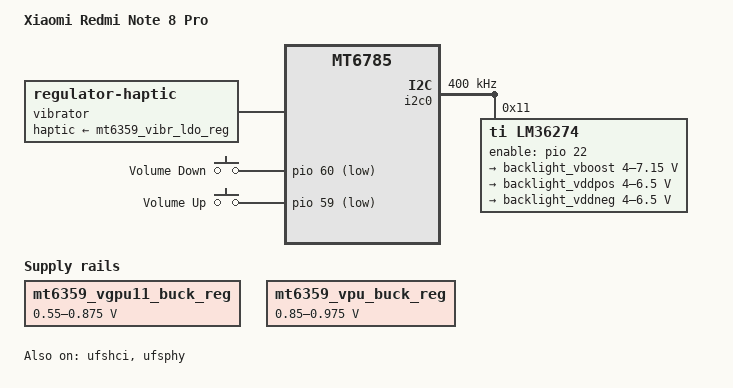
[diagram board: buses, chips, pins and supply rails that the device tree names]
// SPDX-License-Identifier: (GPL-2.0 OR MIT)
/*
 * Copyright (c) 2025 Dinolek <git@dinolek.me>
 */

/dts-v1/;
#include <dt-bindings/gpio/gpio.h>
#include <dt-bindings/input/input.h>

#include "mt6785.dtsi"
#include "mt6359.dtsi"

/ {
	model = "Xiaomi Redmi Note 8 Pro";
	compatible = "xiaomi,begonia", "mediatek,mt6785";
	chassis-type = "handset";

	vibrator {
		compatible = "regulator-haptic";
		haptic-supply = <&mt6359_vibr_ldo_reg>;
		max-microvolt = <2800000>;
		min-microvolt = <1200000>;
	};

	volume_buttons: volume-buttons {
		compatible = "gpio-keys";
		pinctrl-names = "default";
		pinctrl-0 = <&volume_button_pins>;

		button-volume-down {
			label = "Volume Down";
			linux,code = <KEY_VOLUMEDOWN>;
			debounce-interval = <100>;

			gpios = <&pio 60 GPIO_ACTIVE_LOW>;
		};

		button-volume-up {
			label = "Volume Up";
			linux,code = <KEY_VOLUMEUP>;
			debounce-interval = <100>;

			gpios = <&pio 59 GPIO_ACTIVE_LOW>;
		};
	};
};

&cci {
	proc-supply = <&mt6359_vproc2_buck_reg>;
};

&cpu0 {
	proc-supply = <&mt6359_vproc2_buck_reg>;
};

&cpu1 {
	proc-supply = <&mt6359_vproc2_buck_reg>;
};

&cpu2 {
	proc-supply = <&mt6359_vproc2_buck_reg>;
};

&cpu3 {
	proc-supply = <&mt6359_vproc2_buck_reg>;
};

&cpu4 {
	proc-supply = <&mt6359_vproc2_buck_reg>;
};

&cpu5 {
	proc-supply = <&mt6359_vproc2_buck_reg>;
};

&cpu6 {
	proc-supply = <&mt6359_vproc1_buck_reg>;
};

&cpu7 {
	proc-supply = <&mt6359_vproc1_buck_reg>;
};

&i2c0 {
	clock-frequency = <400000>;

	pinctrl-names = "default";
	pinctrl-0 = <&i2c0_pins>;

	status = "okay";

	lm36274@11 {
		compatible = "ti,lm36274";
		reg = <0x11>;

		enable-gpios = <&pio 22 GPIO_ACTIVE_HIGH>;

		pinctrl-names = "default";
		pinctrl-0 = <&backlight_pins>;

		regulators {
			compatible = "ti,lm36274-regulator";

			vboost {
				regulator-name = "backlight_vboost";
				regulator-max-microvolt = <7150000>;
				regulator-min-microvolt = <4000000>;
				regulator-always-on;
			};

			backlight_vddpos: vpos {
				regulator-name = "backlight_vddpos";
				regulator-max-microvolt = <6500000>;
				regulator-min-microvolt = <4000000>;
			};

			backlight_vddneg: vneg {
				regulator-name = "backlight_vddneg";
				regulator-max-microvolt = <6500000>;
				regulator-min-microvolt = <4000000>;
			};
		};

		backlight: backlight {
			compatible = "ti,lm36274-backlight";

			led {
				default-brightness = <800>;
				led-sources = <0 1 2>;
				max-brightness = <1879>;
				ti,exponential-mode;
				ti,ovp-microvolt = <29000000>;
				ti,ramp-time-us = <100000>;
			};
		};
	};
};

&mfg {
	domain-supply = <&mt6359_vpu_buck_reg>;
};

&mfg_async {
	domain-supply = <&mt6359_vgpu11_buck_reg>;
};

&mt6359_vcore_buck_reg {
	regulator-always-on;
};

&mt6359_vgpu11_buck_reg {
	regulator-name = "vgpu";
	regulator-min-microvolt = <550000>;
	regulator-max-microvolt = <875000>;

	regulator-coupled-with = <&mt6359_vpu_buck_reg>;
	regulator-coupled-max-spread = <100000>;
};

&mt6359_vproc1_buck_reg {
	regulator-name = "vproc_b";
	regulator-always-on;
};

&mt6359_vproc2_buck_reg {
	regulator-name = "vproc_l";
	regulator-always-on;
};

&mt6359_vpu_buck_reg {
	regulator-name = "vsram_gpu";
	regulator-min-microvolt = <850000>;
	regulator-max-microvolt = <975000>;

	regulator-coupled-with = <&mt6359_vgpu11_buck_reg>;
	regulator-coupled-max-spread = <100000>;
};

&mt6359_vsram_others_ldo_reg {
	regulator-name = "vsram_core";
	regulator-always-on;
};

&pio {
	backlight_pins: backlight-pins {
		pins-enable {
			pinmux = <PINMUX_GPIO22__FUNC_GPIO22>;
			output-high;
		};
	};

	i2c0_pins: i2c0-pins {
		pins-bus {
			pinmux = <PINMUX_GPIO51__FUNC_SCL0>,
				 <PINMUX_GPIO52__FUNC_SDA0>;
			bias-pull-up;
		};
	};

	volume_button_pins: volume-button-pins {
		pins-volume {
			pinmux = <PINMUX_GPIO59__FUNC_KPCOL0>,
				 <PINMUX_GPIO60__FUNC_KPCOL1>;
			input-enable;
		};
	};
};

&pmic {
	interrupts-extended = <&pio 193 IRQ_TYPE_LEVEL_HIGH>;

	keys {
		compatible = "mediatek,mt6359-keys";

		power {
			linux,keycodes = <KEY_POWER>;
			wakeup-source;
		};
	};
};

&ufshci {
	mediatek,ufs-disable-mcq;
	mediatek,ufs-support-va09;

	va09-supply = <&mt6359_va09_ldo_reg>;
	vcc-supply = <&mt6359_vemc_ldo_reg>;
	vccq2-supply = <&mt6359_vufs_ldo_reg>;

	status = "okay";
};

&ufsphy {
	status = "okay";
};
